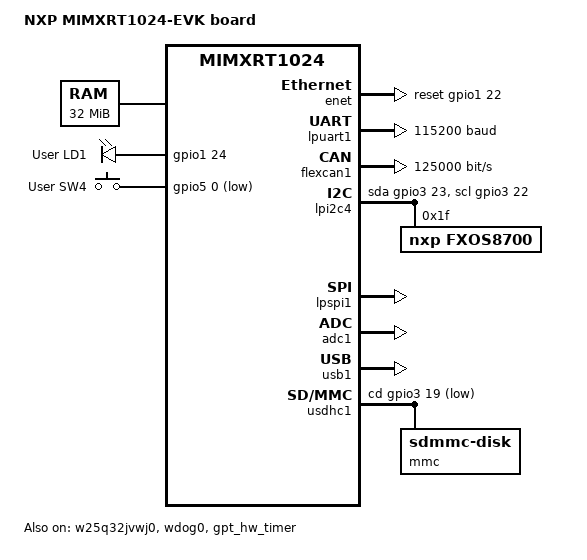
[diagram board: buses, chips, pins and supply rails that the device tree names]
/*
 * Copyright (c) 2020, NXP
 *
 * SPDX-License-Identifier: Apache-2.0
 */

/dts-v1/;

#include <nxp/nxp_rt1024.dtsi>
#include "mimxrt1024_evk-pinctrl.dtsi"

/ {
	model = "NXP MIMXRT1024-EVK board";
	compatible = "nxp,mimxrt1024";

	aliases {
		led0 = &green_led;
		sw0 = &user_button;
		watchdog0 = &wdog0;
		magn0 = &fxos8700;
		accel0 = &fxos8700;
		sdhc0 = &usdhc1;
	};

	chosen {
		zephyr,flash-controller = &w25q32jvwj0;
		zephyr,flash = &w25q32jvwj0;
		zephyr,code-partition = &slot0_partition;
		zephyr,sram = &sdram0;
		zephyr,itcm = &itcm;
		zephyr,dtcm = &dtcm;
		zephyr,console = &lpuart1;
		zephyr,shell-uart = &lpuart1;
		zephyr,canbus = &flexcan1;
	};

	sdram0: memory@80000000 {
		/* ISSI IS42S16160J-6TLI */
		device_type = "memory";
		reg = <0x80000000 DT_SIZE_M(32)>;
	};

	leds {
		compatible = "gpio-leds";
		green_led: led-1 {
			gpios = <&gpio1 24 GPIO_ACTIVE_HIGH>;
			label = "User LD1";
		};
	};

	gpio_keys {
		compatible = "gpio-keys";
		user_button: button-1 {
			label = "User SW4";
			gpios = <&gpio5 0 (GPIO_PULL_UP | GPIO_ACTIVE_LOW)>;
		};
	};
};

&w25q32jvwj0 {
	status = "okay";
	partitions {
		compatible = "fixed-partitions";
		#address-cells = <1>;
		#size-cells = <1>;

		boot_partition: partition@0 {
			label = "mcuboot";
			reg = <0x00000000 DT_SIZE_K(64)>;
		};

		slot0_partition: partition@10000 {
			label = "image-0";
			reg = <0x00010000 DT_SIZE_K(1920)>;
		};

		slot1_partition: partition@1f0000 {
			label = "image-1";
			reg = <0x001F0000 DT_SIZE_K(1920)>;
		};

		storage_partition: partition@3d0000 {
			label = "storage";
			reg = <0x003D0000 DT_SIZE_K(128)>;
		};

		scratch_partition: partition@3f0000 {
			label = "image-scratch";
			reg = <0x003f0000 DT_SIZE_K(64)>;
		};
	};
};

&enet {
	status = "okay";
	pinctrl-0 = <&pinmux_enet>;
	pinctrl-names = "default";
	int-gpios = <&gpio1 4 GPIO_ACTIVE_HIGH>;
	reset-gpios = <&gpio1 22 GPIO_ACTIVE_HIGH>;
	ptp {
		status = "okay";
		pinctrl-0 = <&pinmux_ptp>;
		pinctrl-names = "default";
	};
};

&lpuart1 {
	status = "okay";
	current-speed = <115200>;
	pinctrl-0 = <&pinmux_lpuart1>;
	pinctrl-1 = <&pinmux_lpuart1_sleep>;
	pinctrl-names = "default", "sleep";
};

&lpuart2 {
	pinctrl-0 = <&pinmux_lpuart2>;
	pinctrl-1 = <&pinmux_lpuart2_sleep>;
	pinctrl-names = "default", "sleep";
};

&flexcan1 {
	status = "okay";
	bus-speed = <125000>;
	pinctrl-0 = <&pinmux_flexcan1>;
	pinctrl-names = "default";

	can-transceiver {
		max-bitrate = <5000000>;
	};
};

&wdog0 {
	status = "okay";
};

&lpi2c4 {
	status = "okay";
	pinctrl-0 = <&pinmux_lpi2c4>;
	pinctrl-names = "default";
	scl-gpios = <&gpio3 22 GPIO_ACTIVE_HIGH>;
	sda-gpios = <&gpio3 23 GPIO_ACTIVE_HIGH>;

	fxos8700: fxos8700@1f {
		compatible = "nxp,fxos8700";
		reg = <0x1f>;
	};
};

&edma0 {
	status = "okay";
};

&lpspi1 {
	status = "okay";
	/* DMA channels 0 and 1, muxed to LPSPI1 RX and TX */
	dmas = <&edma0 0 13>, <&edma0 1 14>;
	dma-names = "rx", "tx";
	pinctrl-0 = <&pinmux_lpspi1>;
	pinctrl-names = "default";
};

&adc1 {
	status = "okay";
	pinctrl-0 = <&pinmux_adc1>;
	pinctrl-names = "default";
};

/* Enable GPT for use as a hardware timer. This disables Cortex Systick.
 * to use systick, change this node from "gpt_hw_timer" to "systick"
 */
&gpt_hw_timer {
	status = "okay";
};

zephyr_udc0: &usb1 {
	status = "okay";
};

&usdhc1 {
	status = "okay";
	pinctrl-0 = <&pinmux_usdhc1>;
	pinctrl-1 = <&pinmux_usdhc1_slow>;
	pinctrl-2 = <&pinmux_usdhc1_med>;
	pinctrl-3 = <&pinmux_usdhc1_fast>;
	pinctrl-names = "default", "slow", "med", "fast";
	cd-gpios = <&gpio3 19 GPIO_ACTIVE_LOW>;
	pwr-gpios = <&gpio3 30 GPIO_ACTIVE_HIGH>;
	no-1-8-v;
	mmc {
		compatible = "zephyr,sdmmc-disk";
		status = "okay";
	};
};
